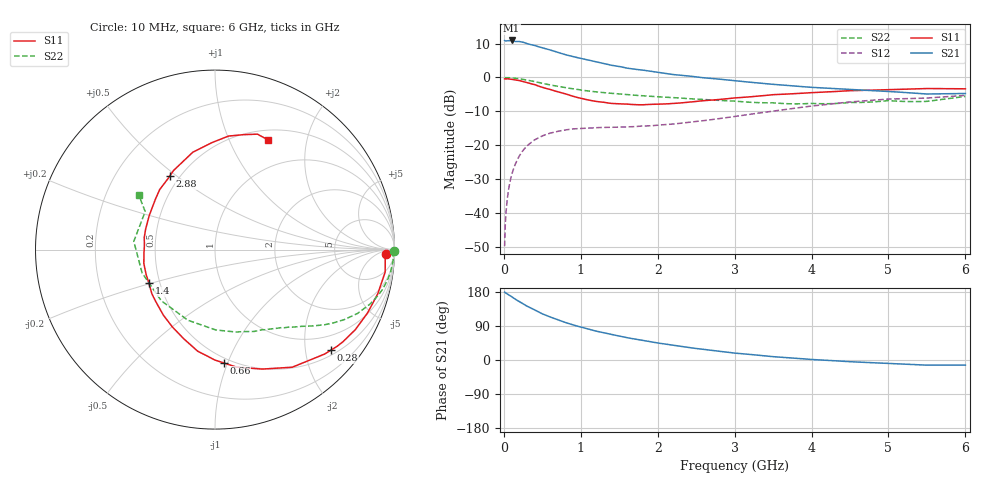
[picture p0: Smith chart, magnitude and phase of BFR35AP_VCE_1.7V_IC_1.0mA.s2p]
! Infineon Technologies  Discrete & RF Semiconductors
! BFR35AP
! VCE =  1.7 V,  IC =  1.0 mA
! Common Emitter S-Parameters:  Nov 2015
# GHz  S  MA  R  50
!  f  S11  S21  S12  S22
! GHz  MAG  ANG  MAG  ANG  MAG  ANG  MAG  ANG
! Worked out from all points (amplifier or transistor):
!   210 points, 10 MHz to 6 GHz, reference 50 ohm
!   highest |S21| = 10.9 dB at 100 MHz (marker M1)
!   |S21| within 3 dB of that: start of sweep to 627.7 MHz
!   unconditionally stable (mu >= 1): 1.375 GHz to end of sweep
!   at 185 MHz: K = 0.16, MSG = 17.3 dB, |S12| = -23.9 dB
!   at 1.52 GHz: K = 1.07, MAG = 7.3 dB, |S12| = -14.7 dB
!   at 6 GHz: K = 1.06, MAG = -1.2 dB, |S12| = -5.3 dB
!   S11 on the Smith chart (normalised r, x): 10 MHz: 32, -17; 280 MHz: 0.61, -2.55; 660 MHz: 0.46, -0.97; 1.4 GHz: 0.44, -0.20; 2.88 GHz: 0.44, +0.47; 6 GHz: 0.62, +1.40
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0.01  0.9519 -1.5  3.52 179.1  0.0032 89.9  0.9995 -0.6
0.02  0.9497 -2.9  3.459 177.4  0.0071 85.5  0.9909 -1.3
0.04  0.9535 -6.0  3.483 174.9  0.0142 84.3  0.9929 -2.8
0.065  0.9496 -9.8  3.5 171.7  0.0232 82.6  0.9916 -4.5
0.1  0.9397 -15.2  3.523 167.3  0.0358 80.8  0.9869 -7.0
0.15  0.9202 -22.6  3.398 160.3  0.0525 75.6  0.9744 -10.4
0.2  0.9001 -29.7  3.4 154.2  0.0686 71.7  0.9585 -13.5
0.28  0.8549 -41.0  3.23 144.5  0.0916 64.6  0.9229 -18.4
0.4  0.784 -56.7  2.97 132.3  0.1194 56.2  0.8694 -24.2
0.5  0.7151 -68.6  2.751 121.8  0.1367 50.0  0.8193 -28.4
0.66  0.6329 -85.7  2.43 109.2  0.1558 42.7  0.7539 -33.4
0.82  0.5633 -101.5  2.141 97.7  0.1686 37.2  0.7003 -37.3
1.02  0.4854 -120.7  1.892 85.7  0.1766 32.8  0.6474 -41.3
1.2  0.442 -137.3  1.704 76.2  0.1808 30.1  0.6121 -44.9
1.4  0.4127 -153.1  1.513 67.3  0.1831 28.9  0.5822 -48.4
2.02  0.4033 162.4  1.184 44.3  0.1978 32.0  0.5162 -60.2
2.88  0.4816 121.5  0.924 21.2  0.2535 37.0  0.4527 -85.2
3.1  0.5065 114.4  0.872 16.5  0.2746 36.8  0.4373 -93.7
4.1  0.6028 90.0  0.704 0.3  0.3883 29.5  0.4092 -141.7
5.1  0.6642 74.8  0.611 -10.0  0.4817 14.9  0.4468 169.8
5.5  0.6853 69.8  0.569 -13.6  0.4961 8.2  0.4429 151.4
6  0.6791 64.3  0.579 -13.6  0.5427 3.8  0.5233 144.3
